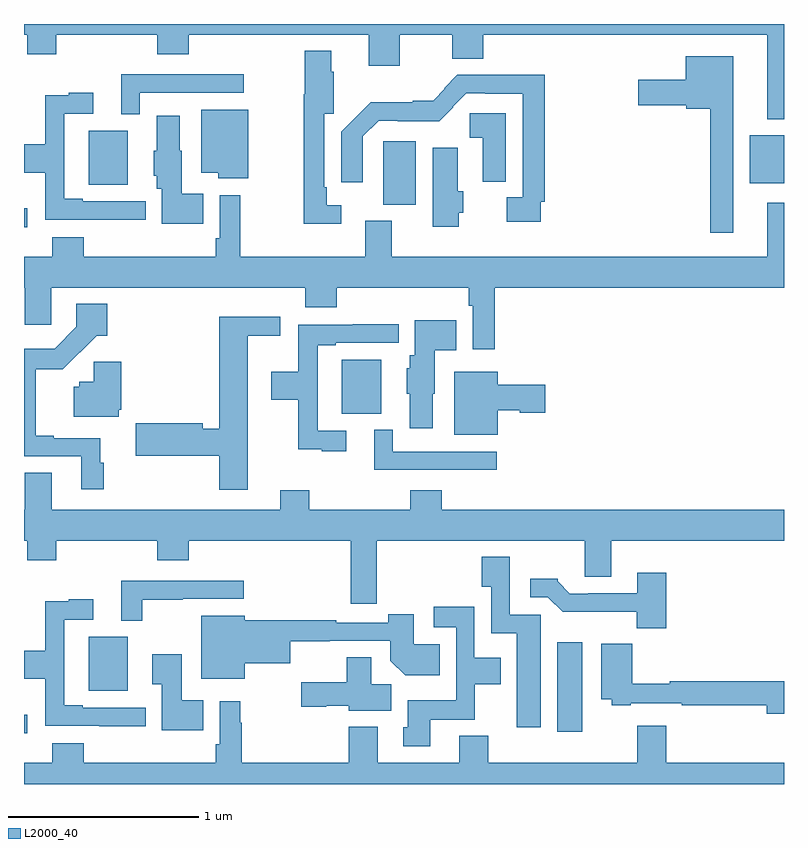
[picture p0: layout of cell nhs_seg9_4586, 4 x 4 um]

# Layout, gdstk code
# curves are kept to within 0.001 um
import gdstk
lib = gdstk.Library(unit=1e-6, precision=1e-09)
def R(c, l, rs):  # rectangles x0, y0, x1, y1
    for r in rs: c.add(gdstk.rectangle(r[:2], r[2:], *l))
def P(c, l, *ps):  # polygons
    for p in ps: c.add(gdstk.Polygon(p, *l))
L2000_40 = (2000, 40)

nhs_seg9_4586 = lib.new_cell('nhs_seg9_4586')
R(nhs_seg9_4586, L2000_40, [(375,1168.766,375.016,1168.865), (377.807,1168.776,377.938,1169.245), (375.341,1168.991,375.547,1169.275), (376.673,1170.449,376.879,1170.733), (375,1171.43,375.016,1171.529), (376.892,1171.55,377.062,1171.884), (375.341,1171.655,375.547,1171.939), (378.821,1171.661,379,1171.915)])
P(nhs_seg9_4586, L2000_40, [(379,1172.5),(375,1172.5),(375,1172.444),(375.017,1172.444),(375.017,1172.342),(375.17,1172.342),(375.17,1172.444),(375.701,1172.444),(375.701,1172.342),(375.866,1172.342),(375.866,1172.444),(376.814,1172.444),(376.814,1172.28),(376.978,1172.28),(376.978,1172.444),(377.255,1172.444),(377.255,1172.318),(377.416,1172.318),(377.416,1172.444),(378.911,1172.444),(378.911,1172),(379,1172)],
  [(376.669,1171.545),(376.593,1171.545),(376.593,1171.642),(376.581,1171.642),(376.581,1172.028),(376.631,1172.028),(376.631,1172.249),(376.618,1172.249),(376.618,1172.359),(376.477,1172.359),(376.477,1172.131),(376.473,1172.131),(376.473,1171.448),(376.669,1171.448)],
  [(378.733,1172.329),(378.482,1172.329),(378.482,1172.206),(378.234,1172.206),(378.234,1172.072),(378.486,1172.072),(378.486,1172.054),(378.612,1172.054),(378.612,1171.401),(378.733,1171.401)],
  [(375.609,1172.139),(376.156,1172.139),(376.156,1172.235),(375.512,1172.235),(375.512,1172.024),(375.609,1172.024)],
  [(377.721,1171.564),(377.741,1171.564),(377.741,1172.233),(377.281,1172.233),(377.211,1172.163),(377.215,1172.159),(377.153,1172.097),(377.045,1172.097),(377.045,1172.089),(376.825,1172.089),(376.67,1171.932),(376.67,1171.668),(376.782,1171.668),(376.782,1171.908),(376.866,1171.992),(376.966,1171.992),(376.966,1171.988),(377.185,1171.988),(377.259,1172.061),(377.256,1172.064),(377.328,1172.136),(377.428,1172.136),(377.428,1172.132),(377.625,1172.132),(377.625,1171.588),(377.542,1171.588),(377.542,1171.46),(377.721,1171.46)],
  [(375.64,1171.566),(375.31,1171.566),(375.31,1171.579),(375.213,1171.579),(375.213,1172.028),(375.364,1172.028),(375.364,1172.137),(375.236,1172.137),(375.236,1172.126),(375.112,1172.126),(375.112,1171.866),(375,1171.866),(375,1171.718),(375.112,1171.718),(375.112,1171.47),(375.397,1171.47),(375.397,1171.469),(375.64,1171.469)],
  [(376.18,1172.05),(375.932,1172.05),(375.932,1171.718),(376.022,1171.718),(376.022,1171.688),(376.18,1171.688)],
  [(377.536,1172.03),(377.346,1172.03),(377.346,1171.901),(377.414,1171.901),(377.414,1171.669),(377.536,1171.669)],
  [(375.944,1171.606),(375.829,1171.606),(375.829,1171.833),(375.82,1171.833),(375.82,1172.017),(375.698,1172.017),(375.698,1171.833),(375.683,1171.833),(375.683,1171.701),(375.698,1171.701),(375.698,1171.632),(375.725,1171.632),(375.725,1171.448),(375.944,1171.448)],
  [(377.287,1171.506),(377.311,1171.506),(377.311,1171.62),(377.284,1171.62),(377.284,1171.849),(377.15,1171.849),(377.15,1171.434),(377.287,1171.434)],
  [(377.477,1171.112),(379,1171.112),(379,1171.558),(378.911,1171.558),(378.911,1171.276),(376.936,1171.276),(376.936,1171.465),(376.796,1171.465),(376.796,1171.276),(376.138,1171.276),(376.138,1171.6),(376.029,1171.6),(376.029,1171.372),(376.009,1171.372),(376.009,1171.276),(375.314,1171.276),(375.314,1171.378),(375.149,1171.378),(375.149,1171.276),(375,1171.276),(375,1171.112),(375.005,1171.112),(375.005,1170.918),(375.144,1170.918),(375.144,1171.112),(376.481,1171.112),(376.481,1171.01),(376.646,1171.01),(376.646,1171.112),(377.341,1171.112),(377.341,1171.016),(377.361,1171.016),(377.361,1170.789),(377.477,1170.789)],
  [(375.419,1170.191),(375.401,1170.191),(375.401,1170.321),(375.157,1170.321),(375.157,1170.334),(375.061,1170.334),(375.061,1170.683),(375.205,1170.683),(375.383,1170.86),(375.437,1170.86),(375.437,1171.027),(375.276,1171.027),(375.276,1170.906),(375.162,1170.792),(375,1170.792),(375,1170.225),(375.302,1170.225),(375.302,1170.051),(375.419,1170.051)],
  [(376.177,1170.86),(376.348,1170.86),(376.348,1170.958),(376.028,1170.958),(376.028,1170.37),(375.94,1170.37),(375.94,1170.398),(375.588,1170.398),(375.588,1170.227),(376.028,1170.227),(376.028,1170.048),(376.177,1170.048)],
  [(377.152,1170.555),(377.161,1170.555),(377.161,1170.782),(377.276,1170.782),(377.276,1170.94),(377.057,1170.94),(377.057,1170.756),(377.03,1170.756),(377.03,1170.687),(377.015,1170.687),(377.015,1170.555),(377.03,1170.555),(377.03,1170.372),(377.152,1170.372)],
  [(376.696,1170.36),(376.545,1170.36),(376.545,1170.81),(376.642,1170.81),(376.642,1170.822),(376.972,1170.822),(376.972,1170.92),(376.729,1170.92),(376.729,1170.918),(376.444,1170.918),(376.444,1170.67),(376.302,1170.67),(376.302,1170.523),(376.444,1170.523),(376.444,1170.263),(376.568,1170.263),(376.568,1170.252),(376.696,1170.252)],
  [(375.499,1170.471),(375.512,1170.471),(375.512,1170.723),(375.367,1170.723),(375.367,1170.618),(375.291,1170.618),(375.291,1170.591),(375.263,1170.591),(375.263,1170.434),(375.499,1170.434)],
  [(377.494,1170.467),(377.61,1170.467),(377.61,1170.455),(377.743,1170.455),(377.743,1170.602),(377.494,1170.602),(377.494,1170.67),(377.264,1170.67),(377.264,1170.338),(377.494,1170.338)],
  [(377.488,1170.249),(376.941,1170.249),(376.941,1170.364),(376.844,1170.364),(376.844,1170.153),(377.488,1170.153)],
  [(376.856,1169.78),(377.951,1169.78),(377.951,1169.59),(378.091,1169.59),(378.091,1169.78),(379,1169.78),(379,1169.944),(377.198,1169.944),(377.198,1170.046),(377.033,1170.046),(377.033,1169.944),(376.502,1169.944),(376.502,1170.046),(376.349,1170.046),(376.349,1169.944),(375.145,1169.944),(375.145,1170.139),(375.005,1170.139),(375.005,1169.944),(375,1169.944),(375,1169.78),(375.017,1169.78),(375.017,1169.678),(375.17,1169.678),(375.17,1169.78),(375.701,1169.78),(375.701,1169.678),(375.866,1169.678),(375.866,1169.78),(376.72,1169.78),(376.72,1169.448),(376.856,1169.448)],
  [(377.719,1169.391),(377.556,1169.391),(377.556,1169.695),(377.408,1169.695),(377.408,1169.539),(377.46,1169.539),(377.46,1169.294),(377.594,1169.294),(377.594,1168.8),(377.719,1168.8)],
  [(378.38,1169.611),(378.227,1169.611),(378.227,1169.505),(377.971,1169.505),(377.971,1169.502),(377.872,1169.502),(377.808,1169.566),(377.808,1169.581),(377.664,1169.581),(377.664,1169.484),(377.757,1169.484),(377.836,1169.406),(378.225,1169.406),(378.225,1169.321),(378.38,1169.321)],
  [(375.622,1169.47),(375.836,1169.47),(375.836,1169.475),(376.156,1169.475),(376.156,1169.571),(375.512,1169.571),(375.512,1169.36),(375.622,1169.36)],
  [(375.64,1168.902),(375.31,1168.902),(375.31,1168.915),(375.213,1168.915),(375.213,1169.364),(375.364,1169.364),(375.364,1169.473),(375.236,1169.473),(375.236,1169.462),(375.112,1169.462),(375.112,1169.202),(375,1169.202),(375,1169.054),(375.112,1169.054),(375.112,1168.806),(375.397,1168.806),(375.397,1168.805),(375.64,1168.805)],
  [(377.137,1168.838),(377.373,1168.838),(377.373,1169.024),(377.509,1169.024),(377.509,1169.164),(377.37,1169.164),(377.37,1169.434),(377.157,1169.434),(377.157,1169.325),(377.274,1169.325),(377.274,1168.942),(377.021,1168.942),(377.021,1168.8),(376.997,1168.8),(376.997,1168.698),(377.137,1168.698)],
  [(376.162,1169.135),(376.402,1169.135),(376.402,1169.252),(376.928,1169.253),(376.928,1169.15),(377.006,1169.072),(377.189,1169.072),(377.189,1169.236),(377.05,1169.236),(377.05,1169.393),(376.916,1169.393),(376.916,1169.349),(376.643,1169.349),(376.643,1169.362),(376.162,1169.362),(376.162,1169.386),(375.932,1169.386),(375.932,1169.054),(376.162,1169.054)],
  [(379,1169.042),(378.398,1169.042),(378.398,1169.027),(378.2,1169.027),(378.2,1169.239),(378.038,1169.239),(378.038,1168.946),(378.093,1168.946),(378.093,1168.914),(378.193,1168.914),(378.193,1168.926),(378.463,1168.926),(378.463,1168.914),(378.908,1168.914),(378.908,1168.871),(379,1168.871)],
  [(375.944,1168.942),(375.829,1168.942),(375.829,1169.182),(375.675,1169.182),(375.675,1169.026),(375.725,1169.026),(375.725,1168.784),(375.944,1168.784)],
  [(376.933,1169.024),(376.828,1169.024),(376.828,1169.168),(376.699,1169.168),(376.699,1169.035),(376.458,1169.035),(376.458,1168.906),(376.59,1168.906),(376.59,1168.913),(376.71,1168.913),(376.71,1168.886),(376.933,1168.886)],
  [(379,1168.612),(378.38,1168.612),(378.38,1168.807),(378.227,1168.807),(378.227,1168.612),(377.444,1168.612),(377.444,1168.753),(377.291,1168.753),(377.291,1168.612),(376.861,1168.612),(376.861,1168.801),(376.709,1168.801),(376.709,1168.612),(376.145,1168.612),(376.145,1168.823),(376.138,1168.823),(376.138,1168.936),(376.029,1168.936),(376.029,1168.708),(376.009,1168.708),(376.009,1168.612),(375.314,1168.612),(375.314,1168.714),(375.149,1168.714),(375.149,1168.612),(375,1168.612),(375,1168.5),(379,1168.5)])

lib.write_gds('nhs_seg9_4586.gds')
